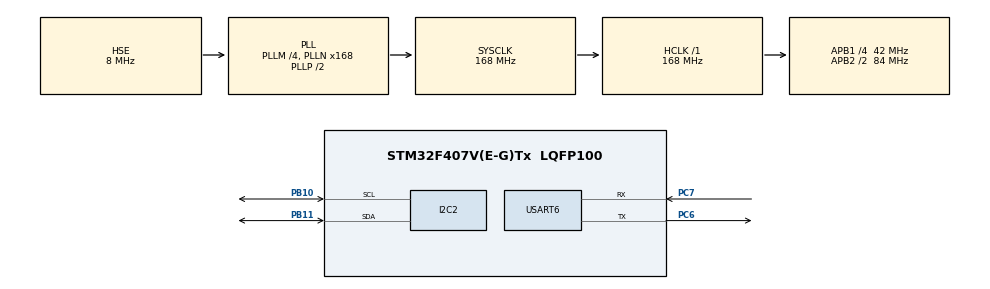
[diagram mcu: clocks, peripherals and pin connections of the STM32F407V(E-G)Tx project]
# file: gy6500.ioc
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I2C2.I2C_Mode=I2C_Fast
Mcu.Family=STM32F4
Mcu.Name=STM32F407V(E-G)Tx
Mcu.Package=LQFP100
NVIC.PriorityGroup=NVIC_PRIORITYGROUP_4
PA13.Mode=Trace_Asynchronous_SW
PA13.Signal=SYS_JTMS-SWDIO
PA14.Mode=Trace_Asynchronous_SW
PA14.Signal=SYS_JTCK-SWCLK
PB10.Mode=I2C
PB10.Signal=I2C2_SCL
PB11.Mode=I2C
PB11.Signal=I2C2_SDA
PB3.Mode=Trace_Asynchronous_SW
PB3.Signal=SYS_JTDO-SWO
PC6.Mode=Asynchronous
PC6.Signal=USART6_TX
PC7.Mode=Asynchronous
PC7.Signal=USART6_RX
PH0-OSC_IN.Mode=HSE-External-Oscillator
PH0-OSC_IN.Signal=RCC_OSC_IN
PH1-OSC_OUT.Mode=HSE-External-Oscillator
PH1-OSC_OUT.Signal=RCC_OSC_OUT
ProjectManager.HeapSize=0x200
ProjectManager.StackSize=0x400
ProjectManager.TargetToolchain=STM32CubeIDE
RCC.48MHZClocksFreq_Value=84000000
RCC.AHBFreq_Value=168000000
RCC.APB1CLKDivider=RCC_HCLK_DIV4
RCC.APB1Freq_Value=42000000
RCC.APB1TimFreq_Value=84000000
RCC.APB2CLKDivider=RCC_HCLK_DIV2
RCC.APB2Freq_Value=84000000
RCC.APB2TimFreq_Value=168000000
RCC.CortexFreq_Value=168000000
RCC.HCLKFreq_Value=168000000
RCC.HSE_VALUE=8000000
RCC.HSI_VALUE=16000000
RCC.LSE_VALUE=32768
RCC.PLLM=4
RCC.PLLN=168
RCC.PLLSourceVirtual=RCC_PLLSOURCE_HSE
RCC.SYSCLKFreq_VALUE=168000000
RCC.SYSCLKSource=RCC_SYSCLKSOURCE_PLLCLK
RCC.VCOOutputFreq_Value=336000000
USART6.VirtualMode=VM_ASYNC
board=custom

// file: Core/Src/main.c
/* USER CODE BEGIN Header */
/**
 ******************************************************************************
 * @file           : main.c
 * @brief          : Main program body
 ******************************************************************************
 * @attention
 *
 * Copyright (c) 2025 STMicroelectronics.
 * All rights reserved.
 *
 * This software is licensed under terms that can be found in the LICENSE file
 * in the root directory of this software component.
 * If no LICENSE file comes with this software, it is provided AS-IS.
 *
 ******************************************************************************
 */
/* USER CODE END Header */
#include "main.h"
#include "i2c.h"
#include "usart.h"
#include "gpio.h"

/* USER CODE BEGIN Includes */
#include <stdio.h>
#include <stdbool.h>
#include "gy6500.h"
/* USER CODE END Includes */

/* USER CODE BEGIN PD */
extern I2C_HandleTypeDef hi2c2;
/* USER CODE END PD */

void SystemClock_Config(void);

int main(void)
{

    /* MCU Configuration--------------------------------------------------------*/

    /* Reset of all peripherals, Initializes the Flash interface and the Systick. */
    HAL_Init();

    /* Configure the system clock */
    SystemClock_Config();

    /* Initialize all configured peripherals */
    MX_GPIO_Init();
    MX_USART6_UART_Init();
    MX_I2C2_Init();
    /* USER CODE BEGIN 2 */
    printf("프로그램 시작\r\n");

    Scanning_I2C();
    GyData gy6500_1;

    // Gy6500 Sensor init
    // STM32 HAL 라이브러리 함수에서 I2C 주소를 인자로 전달할 때는 7비트 주소를 1비트 시프트하여 8비트 형식으로 전달
    if (Gy6500_init(&gy6500_1, &hi2c2, DEV_ADDR) == HAL_OK)
        printf("센서 연결 완료\r\n");
    else
        printf("센서 연결 실패\r\n");

    /* USER CODE END 2 */

    /* Infinite loop */
    /* USER CODE BEGIN WHILE */
    while (1)
    {
        setSensorState(&gy6500_1, ALL_SENSORS_ON);
        setTempState(&gy6500_1, TEMP_DIS);

        if (!getAccelerometer(&gy6500_1))
            printf("Accel(g): X=%.2f, Y=%.2f, Z=%.2f", gy6500_1.accel_x, gy6500_1.accel_y, gy6500_1.accel_z);

        if (!getGyroscope(&gy6500_1))
            printf(" \t Gyro(dps): X=%.2f, Y=%.2f, Z=%.2f", gy6500_1.gyro_x, gy6500_1.gyro_y, gy6500_1.gyro_z);

        if (!getTemp(&gy6500_1))
            printf(" \t tTemp: %.2f\r\n", gy6500_1.temp);

        HAL_Delay(10);
        /* USER CODE END WHILE */

    }
}

void SystemClock_Config(void)
{
    RCC_OscInitTypeDef RCC_OscInitStruct =
    { 0 };
    RCC_ClkInitTypeDef RCC_ClkInitStruct =
    { 0 };

    /** Configure the main internal regulator output voltage
     */
    __HAL_RCC_PWR_CLK_ENABLE();
    __HAL_PWR_VOLTAGESCALING_CONFIG(PWR_REGULATOR_VOLTAGE_SCALE1);

    /** Initializes the RCC Oscillators according to the specified parameters
     * in the RCC_OscInitTypeDef structure.
     */
    RCC_OscInitStruct.OscillatorType = RCC_OSCILLATORTYPE_HSE;
    RCC_OscInitStruct.HSEState = RCC_HSE_ON;
    RCC_OscInitStruct.PLL.PLLState = RCC_PLL_ON;
    RCC_OscInitStruct.PLL.PLLSource = RCC_PLLSOURCE_HSE;
    RCC_OscInitStruct.PLL.PLLM = 4;
    RCC_OscInitStruct.PLL.PLLN = 168;
    RCC_OscInitStruct.PLL.PLLP = RCC_PLLP_DIV2;
    RCC_OscInitStruct.PLL.PLLQ = 4;
    if (HAL_RCC_OscConfig(&RCC_OscInitStruct) != HAL_OK)
    {
        Error_Handler();
    }

    /** Initializes the CPU, AHB and APB buses clocks
     */
    RCC_ClkInitStruct.ClockType = RCC_CLOCKTYPE_HCLK | RCC_CLOCKTYPE_SYSCLK | RCC_CLOCKTYPE_PCLK1 | RCC_CLOCKTYPE_PCLK2;
    RCC_ClkInitStruct.SYSCLKSource = RCC_SYSCLKSOURCE_PLLCLK;
    RCC_ClkInitStruct.AHBCLKDivider = RCC_SYSCLK_DIV1;
    RCC_ClkInitStruct.APB1CLKDivider = RCC_HCLK_DIV4;
    RCC_ClkInitStruct.APB2CLKDivider = RCC_HCLK_DIV2;

    if (HAL_RCC_ClockConfig(&RCC_ClkInitStruct, FLASH_LATENCY_5) != HAL_OK)
    {
        Error_Handler();
    }
}

/* USER CODE BEGIN 4 */

#ifdef __GNUC__
#define PUTCHAR_PROTOTYPE int __io_putchar(int ch)
#else
#define PUTCHAR_PROTOTYPE int fputc(int ch, FILE *f)
#endif /* __GNUC__ */

PUTCHAR_PROTOTYPE
{
    HAL_UART_Transmit(&huart6, (uint8_t*) &ch, 1, HAL_MAX_DELAY);
    return ch;
}

int _write(int file, char *ptr, int len)
{
    HAL_UART_Transmit(&huart6, (uint8_t*) ptr, len, HAL_MAX_DELAY);
    return len;
}

/* USER CODE END 4 */

void Error_Handler(void)
{
    __disable_irq();
    while (1)
    {
    }
}
